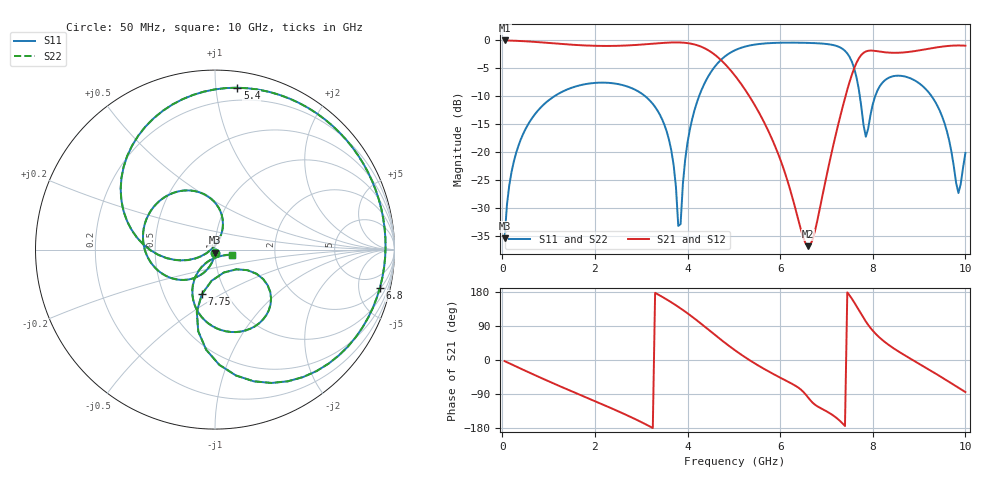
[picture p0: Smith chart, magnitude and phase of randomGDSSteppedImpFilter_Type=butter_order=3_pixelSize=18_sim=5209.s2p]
! freq	dB(S11)	phase(S11)	dB(S12)	phase(S12)
!  dB(S21)	phase(S21)	dB(S22)	phase(S22)
!S-par simulation data
#  GHz  S  DB  R 50
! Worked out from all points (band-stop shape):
!   200 points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, 50 MHz to 10 GHz, reference 50 ohm
!   highest |S21| = -0.01 dB at 50 MHz (marker M1); lowest = -36.9 dB at 6.6 GHz (marker M2)
!   |S21| within 3 dB of the highest: start of sweep to 4.653 GHz; 7.717 GHz to end of sweep
!   lowest |S11| = -35.5 dB at 50 MHz (marker M3), VSWR 1.03, Z = 49.9 - j1.67 ohm
!   |S11| at or under -10 dB: start of sweep to 1.127 GHz; 3.083 GHz to 4.249 GHz (1.166 GHz wide, 31.8 % of centre); 9.269 GHz to end of sweep (the widest 3 of 4)
!   |S22| runs from -35.5 to -0.4 dB; largest |S21 - S12| = 0
!   S11 on the Smith chart (normalised r, x): 50 MHz: 1.00, -0.03; 5.4 GHz: 0.11, +1.14; 6.8 GHz: 2.13, -8.20; 7.75 GHz: 0.77, -0.41; 10 GHz: 1.20, -0.07
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0.05  -35.51 -92.8  -0.01 -2.9  -0.01 -2.9  -35.51 -92.8
0.2  -23.58 -101.8  -0.04 -11.5  -0.04 -11.5  -23.58 -101.8
0.5  -15.93 -119.1  -0.15 -28.6  -0.15 -28.6  -15.93 -119.1
1.75  -7.91 173.8  -0.89 -95.7  -0.89 -95.7  -7.91 173.7
3.4  -13.28 82.2  -0.49 170.5  -0.49 170.5  -13.28 82.1
3.65  -19.74 68.4  -0.37 152.2  -0.37 152.2  -19.75 68.1
3.85  -32.96 179.9  -0.37 136.2  -0.37 136.2  -33.15 -178.8
3.95  -21.33 -154.6  -0.43 127.6  -0.43 127.6  -21.34 -154.1
4.2  -11.17 -170.4  -0.84 104.7  -0.84 104.7  -11.17 -170.2
4.65  -4.10 147.4  -2.98 60.6  -2.98 60.6  -4.10 147.5
5.05  -1.66 110.6  -6.59 23.4  -6.59 23.4  -1.66 110.7
5.4  -0.82 82.1  -10.88 -5.1  -10.88 -5.1  -0.82 82.2
6.6  -0.44 0.6  -36.91 -98.3  -36.91 -98.3  -0.44 0.6
6.7  -0.47 -6.1  -35.74 -112.5  -35.74 -112.5  -0.47 -6.1
6.8  -0.51 -13.0  -32.43 -122.0  -32.43 -122.0  -0.51 -13.0
7.4  -1.87 -67.1  -10.33 -174.3  -10.33 -174.3  -1.87 -67.1
7.75  -11.73 -106.5  -2.62 121.1  -2.62 121.1  -11.72 -106.4
7.85  -17.27 -69.0  -1.98 101.6  -1.98 101.6  -17.26 -68.9
8.35  -6.68 -51.9  -2.19 39.3  -2.19 39.3  -6.68 -51.9
9.2  -9.25 -107.6  -1.50 -24.3  -1.50 -24.3  -9.25 -107.8
9.85  -27.37 -72.8  -0.90 -73.2  -0.90 -73.2  -27.61 -72.7
10  -20.19 -18.0  -0.94 -84.6  -0.94 -84.6  -20.22 -17.4
